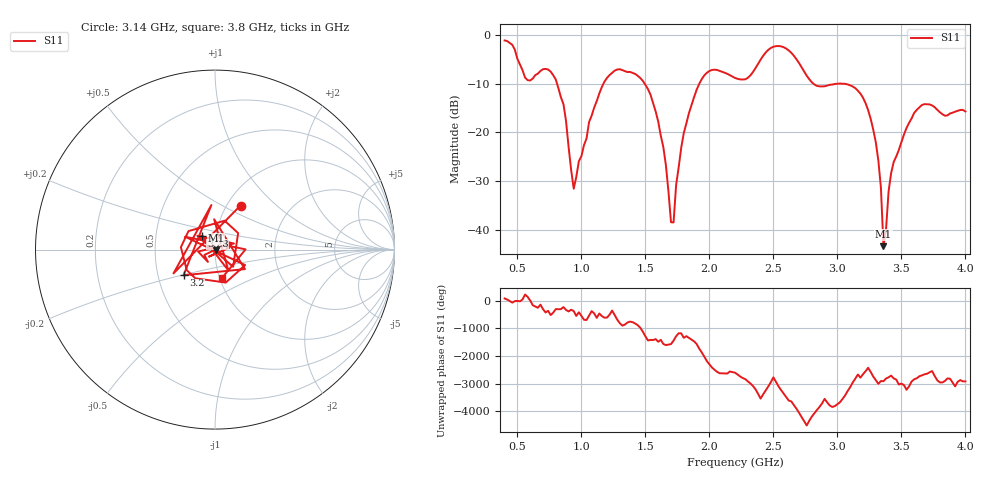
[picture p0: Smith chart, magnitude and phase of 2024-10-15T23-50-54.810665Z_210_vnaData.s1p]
! Created with skrf (http://scikit-rf.org).
# Hz S RI R 50.0
!freq ReS11 ImS11
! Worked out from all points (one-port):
!   181 points, 400 MHz to 4 GHz, reference 50 ohm
!   lowest |S11| = -43.3 dB at 3.36 GHz (marker M1), VSWR 1.01, Z = 50.6 - j0.377 ohm
!   |S11| at or under -10 dB: 809.3 MHz to 1.173 GHz (363.7 MHz wide, 36.7 % of centre); 1.493 GHz to 1.922 GHz (428.7 MHz wide, 25.1 % of centre); 2.812 GHz to end of sweep
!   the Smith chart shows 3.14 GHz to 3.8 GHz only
!   S11 on the Smith chart (normalised r, x): 3.14 GHz: 1.15, +0.62; 3.2 GHz: 0.68, -0.20; 3.28 GHz: 0.85, +0.13; 3.8 GHz: 1.03, -0.33
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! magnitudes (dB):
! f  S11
! 400 MHz  -1.2
! 580 MHz  -9.3
! 760 MHz  -7.6
! 860 MHz  -14.2
! 940 MHz  -31.5
! 1.14 GHz  -12.0
! 1.3 GHz  -7.1
! 1.54 GHz  -12.3
! 1.64 GHz  -23.0
! 1.7 GHz  -38.4
! 1.72 GHz  -38.4
! 1.76 GHz  -27.1
! 1.84 GHz  -16.1
! 1.94 GHz  -9.1
! 2.2 GHz  -8.9
! 2.5 GHz  -2.5
! 2.66 GHz  -4.3
! 2.84 GHz  -10.5
! 3.1 GHz  -10.4
! 3.14 GHz  -10.9
! 3.2 GHz  -12.9
! 3.28 GHz  -19.4
! 3.34 GHz  -31.3
! 3.36 GHz  -43.3
! 3.42 GHz  -28.3
! 3.56 GHz  -18.1
! 3.8 GHz  -15.9
! 4 GHz  -15.7
